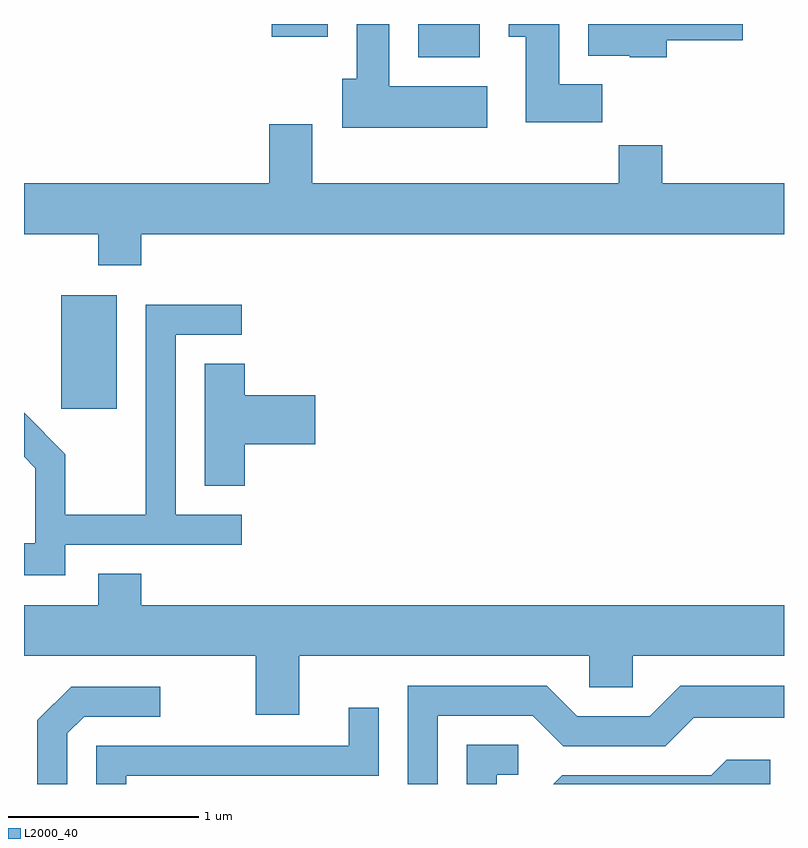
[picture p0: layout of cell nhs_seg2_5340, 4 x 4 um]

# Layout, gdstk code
import gdstk
lib = gdstk.Library(unit=1e-6, precision=1e-09)
def R(c, l, rs):  # rectangles x0, y0, x1, y1
    for r in rs: c.add(gdstk.rectangle(r[:2], r[2:], *l))
def P(c, l, *ps):  # polygons
    for p in ps: c.add(gdstk.Polygon(p, *l))
L2000_40 = (2000, 40)

nhs_seg2_5340 = lib.new_cell('nhs_seg2_5340')
R(nhs_seg2_5340, L2000_40, [(341.806,1111.776,342.099,1112.374), (343.686,1113.626,344.009,1113.802), (342.916,1113.736,343.209,1113.802)])
P(nhs_seg2_5340, L2000_40, [(344.994,1113.716),(345.394,1113.716),(345.394,1113.802),(344.581,1113.802),(344.581,1113.636),(344.8,1113.636),(344.8,1113.626),(344.994,1113.626)],
  [(344.049,1113.474),(343.534,1113.474),(343.534,1113.802),(343.361,1113.802),(343.361,1113.514),(343.286,1113.514),(343.286,1113.256),(344.049,1113.256)],
  [(344.654,1113.484),(344.429,1113.484),(344.429,1113.802),(344.161,1113.802),(344.161,1113.736),(344.251,1113.736),(344.251,1113.286),(344.654,1113.286)],
  [(342.229,1112.696),(345.611,1112.696),(345.611,1112.964),(344.969,1112.964),(344.969,1113.164),(344.741,1113.164),(344.741,1112.964),(343.129,1112.964),(343.129,1113.274),(342.901,1113.274),(342.901,1112.964),(341.611,1112.964),(341.611,1112.696),(342.001,1112.696),(342.001,1112.531),(342.229,1112.531)],
  [(341.829,1111.061),(342.758,1111.061),(342.758,1111.219),(342.409,1111.219),(342.409,1112.166),(342.758,1112.166),(342.758,1112.324),(342.251,1112.324),(342.251,1111.219),(341.829,1111.219),(341.829,1111.537),(341.611,1111.755),(341.611,1111.524),(341.671,1111.464),(341.671,1111.069),(341.611,1111.069),(341.611,1110.901),(341.829,1110.901)],
  [(342.774,1111.591),(343.144,1111.591),(343.144,1111.849),(342.774,1111.849),(342.774,1112.014),(342.561,1112.014),(342.561,1111.371),(342.774,1111.371)],
  [(343.059,1110.476),(344.586,1110.476),(344.586,1110.311),(344.814,1110.311),(344.814,1110.476),(345.611,1110.476),(345.611,1110.744),(342.229,1110.744),(342.229,1110.909),(342.001,1110.909),(342.001,1110.744),(341.611,1110.744),(341.611,1110.476),(342.831,1110.476),(342.831,1110.166),(343.059,1110.166)],
  [(343.789,1110.161),(344.289,1110.161),(344.449,1110.001),(344.987,1110.001),(345.137,1110.151),(345.611,1110.151),(345.611,1110.319),(345.064,1110.319),(344.904,1110.159),(344.522,1110.159),(344.362,1110.319),(343.631,1110.319),(343.631,1109.802),(343.789,1109.802)],
  [(341.839,1110.069),(341.927,1110.156),(342.328,1110.156),(342.328,1110.314),(341.859,1110.314),(341.681,1110.137),(341.681,1109.802),(341.839,1109.802)],
  [(342.149,1109.846),(343.479,1109.846),(343.479,1110.203),(343.321,1110.203),(343.321,1110.004),(341.991,1110.004),(341.991,1109.802),(342.149,1109.802)],
  [(344.099,1109.851),(344.213,1109.851),(344.213,1110.009),(343.941,1110.009),(343.941,1109.802),(344.099,1109.802)],
  [(345.538,1109.929),(345.309,1109.929),(345.229,1109.849),(344.444,1109.849),(344.397,1109.802),(345.538,1109.802)])

lib.write_gds('nhs_seg2_5340.gds')
